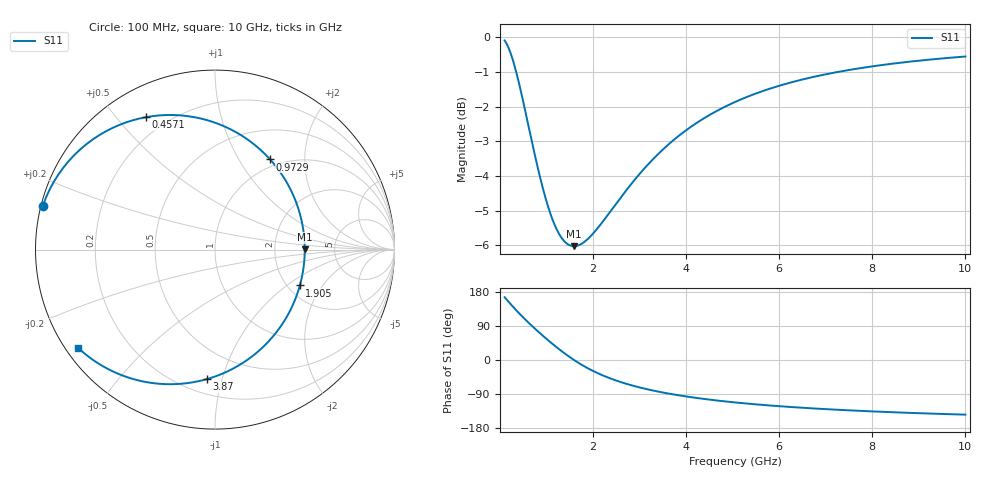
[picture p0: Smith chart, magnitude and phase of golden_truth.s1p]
# GHz S RI R 50
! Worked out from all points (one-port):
!   500 points, 100 MHz to 10 GHz, reference 50 ohm
!   lowest |S11| = -6.0 dB at 1.588 GHz (marker M1), VSWR 3.00, Z = 150 + j1.01 ohm
!   |S11| at or under -10 dB: nowhere
!   S11 on the Smith chart (normalised r, x): 100 MHz: 0.01, +0.13; 457.1 MHz: 0.13, +0.60; 972.9 MHz: 0.89, +1.37; 1.905 GHz: 2.32, -1.26; 3.87 GHz: 0.29, -0.89; 10 GHz: 0.04, -0.32
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0.1  -0.9587 0.2454
0.1396794  -0.921 0.3351
0.1793587  -0.8728 0.4179
0.2388778  -0.7846 0.526
0.2983968  -0.6825 0.6127
0.3777555  -0.5346 0.6939
0.4571142  -0.384 0.7379
0.5761523  -0.1714 0.7459
0.7150301  0.0389 0.6921
0.8340681  0.1817 0.6133
0.9729459  0.3071 0.5022
1.151503  0.4138 0.3492
1.3499  0.4773 0.1833
1.587976  0.5 0.00253
1.905411  0.4729 -0.1999
2.222846  0.4083 -0.3595
2.57996  0.3137 -0.4947
2.857715  0.2338 -0.5731
3.155311  0.1474 -0.636
3.82986  -0.0368 -0.7191
3.869539  -0.0469 -0.722
4.40521  -0.1733 -0.7461
5.05992  -0.3036 -0.7481
5.65511  -0.4013 -0.7346
6.28998  -0.487 -0.7116
7.53988  -0.6135 -0.656
8.76994  -0.6996 -0.6003
10  -0.7609 -0.5491
